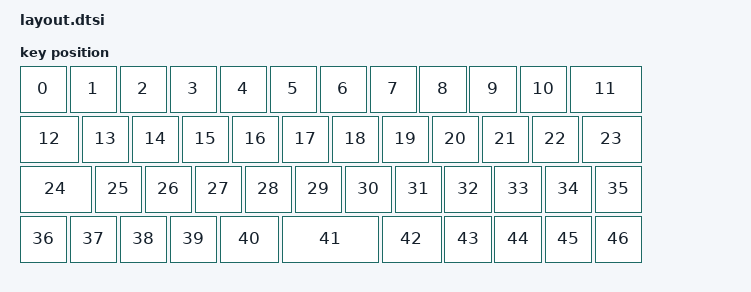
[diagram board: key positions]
#include <physical_layouts.dtsi>

/ {
    physical_layout0: physical_layout_0 {
        compatible = "zmk,physical-layout";
        display-name = "default_transform";

        kscan = <&kscan0>;
        transform = <&matrix_transform0>;

        keys  //                     w   h    x    y     rot    rx    ry
            = <&key_physical_attrs 100 100    0    0       0     0     0>
            , <&key_physical_attrs 100 100  100    0       0     0     0>
            , <&key_physical_attrs 100 100  200    0       0     0     0>
            , <&key_physical_attrs 100 100  300    0       0     0     0>
            , <&key_physical_attrs 100 100  400    0       0     0     0>
            , <&key_physical_attrs 100 100  500    0       0     0     0>
            , <&key_physical_attrs 100 100  600    0       0     0     0>
            , <&key_physical_attrs 100 100  700    0       0     0     0>
            , <&key_physical_attrs 100 100  800    0       0     0     0>
            , <&key_physical_attrs 100 100  900    0       0     0     0>
            , <&key_physical_attrs 100 100 1000    0       0     0     0>
            , <&key_physical_attrs 150 100 1100    0       0     0     0>
            , <&key_physical_attrs 125 100    0  100       0     0     0>
            , <&key_physical_attrs 100 100  125  100       0     0     0>
            , <&key_physical_attrs 100 100  225  100       0     0     0>
            , <&key_physical_attrs 100 100  325  100       0     0     0>
            , <&key_physical_attrs 100 100  425  100       0     0     0>
            , <&key_physical_attrs 100 100  525  100       0     0     0>
            , <&key_physical_attrs 100 100  625  100       0     0     0>
            , <&key_physical_attrs 100 100  725  100       0     0     0>
            , <&key_physical_attrs 100 100  825  100       0     0     0>
            , <&key_physical_attrs 100 100  925  100       0     0     0>
            , <&key_physical_attrs 100 100 1025  100       0     0     0>
            , <&key_physical_attrs 125 100 1125  100       0     0     0>
            , <&key_physical_attrs 150 100    0  200       0     0     0>
            , <&key_physical_attrs 100 100  150  200       0     0     0>
            , <&key_physical_attrs 100 100  250  200       0     0     0>
            , <&key_physical_attrs 100 100  350  200       0     0     0>
            , <&key_physical_attrs 100 100  450  200       0     0     0>
            , <&key_physical_attrs 100 100  550  200       0     0     0>
            , <&key_physical_attrs 100 100  650  200       0     0     0>
            , <&key_physical_attrs 100 100  750  200       0     0     0>
            , <&key_physical_attrs 100 100  850  200       0     0     0>
            , <&key_physical_attrs 100 100  950  200       0     0     0>
            , <&key_physical_attrs 100 100 1050  200       0     0     0>
            , <&key_physical_attrs 100 100 1150  200       0     0     0>
            , <&key_physical_attrs 100 100    0  300       0     0     0>
            , <&key_physical_attrs 100 100  100  300       0     0     0>
            , <&key_physical_attrs 100 100  200  300       0     0     0>
            , <&key_physical_attrs 100 100  300  300       0     0     0>
            , <&key_physical_attrs 125 100  400  300       0     0     0>
            , <&key_physical_attrs 200 100  525  300       0     0     0>
            , <&key_physical_attrs 125 100  725  300       0     0     0>
            , <&key_physical_attrs 100 100  850  300       0     0     0>
            , <&key_physical_attrs 100 100  950  300       0     0     0>
            , <&key_physical_attrs 100 100 1050  300       0     0     0>
            , <&key_physical_attrs 100 100 1150  300       0     0     0>
            ;
    };
};
